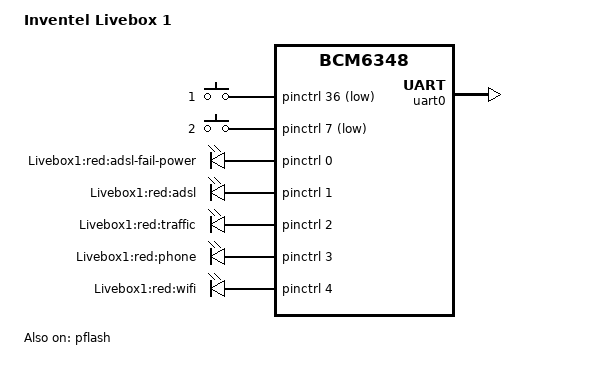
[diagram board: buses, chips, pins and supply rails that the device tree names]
/dts-v1/;

#include "bcm6348.dtsi"

#include <dt-bindings/input/input.h>

/ {
	model = "Inventel Livebox 1";
	compatible = "inventel,livebox-blue-5g", "brcm,bcm6348";

	chosen {
		bootargs = "rootfstype=squashfs,jffs2 noinitrd console=ttyS0,115200";
		stdout-path = "serial0:115200n8";
	};

	gpio-keys-polled {
		compatible = "gpio-keys-polled";
		#address-cells = <1>;
		#size-cells = <0>;

		poll-interval = <20>;
		debounce-interval = <60>;

		button1 {
			label = "1";
			gpios = <&pinctrl 36 1>;
			linux,code = <KEY_RESTART>;
		};

		button2 {
			label = "2";
			gpios = <&pinctrl 7 1>;
			linux,code = <BTN_2>;
		};
	};

	gpio-leds {
		compatible = "gpio-leds";

		red_adsl_fail {
			label = "Livebox1:red:adsl-fail-power";
			gpios = <&pinctrl 0 0>;
			default-state = "on";
		};

		red_adsl {
			label = "Livebox1:red:adsl";
			gpios = <&pinctrl 1 0>;
		};

		red_traffic {
			label = "Livebox1:red:traffic";
			gpios = <&pinctrl 2 0>;
		};

		red_phone {
			label = "Livebox1:red:phone";
			gpios = <&pinctrl 3 0>;
		};

		red_wifi {
			label = "Livebox1:red:wifi";
			gpios = <&pinctrl 4 0>;
		};
	};
};

&pflash {
	reg = <0x1e400000 0x800000>;
	status = "ok";

	partitions {
		compatible = "ecoscentric,redboot-fis-partitions";
	};
};

&pinctrl {
	pinctrl-names = "default";
	pinctrl-0 = <&pinctrl_pci &pinctrl_ext_mii &pinctrl_mii_pccard>;
};

&uart0 {
	status = "ok";
};
